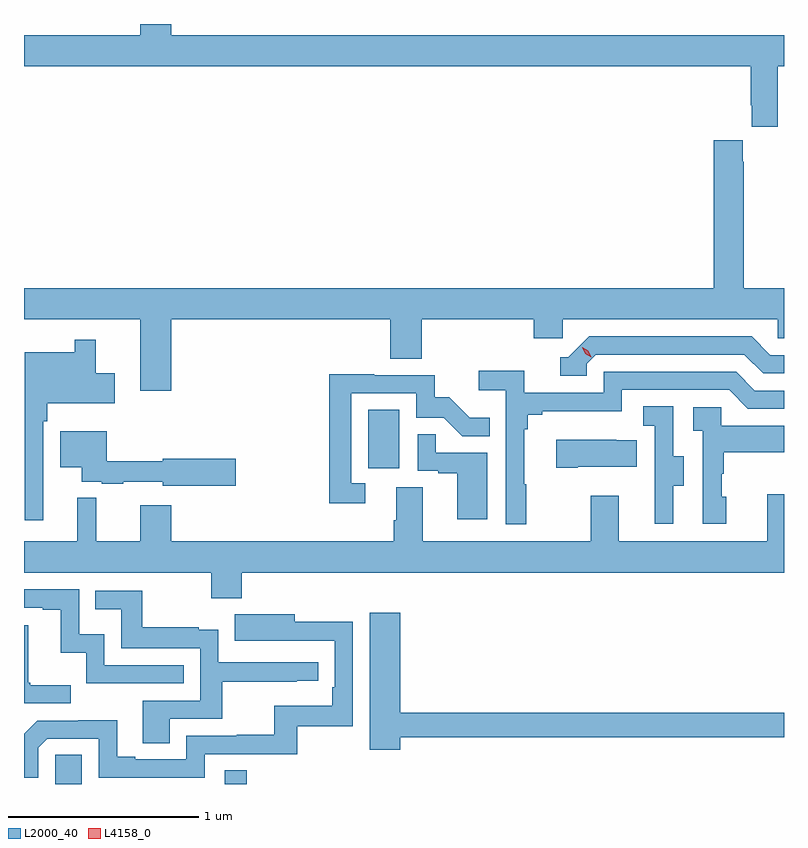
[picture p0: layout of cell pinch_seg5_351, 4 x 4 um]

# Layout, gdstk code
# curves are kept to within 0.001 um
import gdstk
lib = gdstk.Library(unit=1e-6, precision=1e-09)
def R(c, l, rs):  # rectangles x0, y0, x1, y1
    for r in rs: c.add(gdstk.rectangle(r[:2], r[2:], *l))
def P(c, l, *ps):  # polygons
    for p in ps: c.add(gdstk.Polygon(p, *l))
L2000_40 = (2000, 40)
L4158_0 = (4158, 0)

pinch_seg5_351 = lib.new_cell('pinch_seg5_351')
R(pinch_seg5_351, L2000_40, [(967.758,879.623,967.897,879.776), (968.649,879.623,968.765,879.695), (969.404,881.286,969.568,881.593)])
P(pinch_seg5_351, L2000_40, [(971.56,883.4),(971.593,883.4),(971.593,883.564),(968.368,883.564),(968.368,883.623),(968.204,883.623),(968.204,883.564),(967.593,883.564),(967.593,883.4),(971.417,883.4),(971.417,883.195),(971.423,883.195),(971.423,883.083),(971.56,883.083)],
  [(968.368,882.068),(969.521,882.068),(969.521,881.86),(969.686,881.86),(969.686,882.068),(970.277,882.068),(970.277,881.97),(970.428,881.97),(970.428,882.068),(971.559,882.068),(971.559,881.97),(971.593,881.97),(971.593,882.232),(971.382,882.232),(971.382,882.899),(971.377,882.899),(971.377,883.012),(971.222,883.012),(971.222,882.232),(967.593,882.232),(967.593,882.068),(968.204,882.068),(968.204,881.694),(968.368,881.694)],
  [(970.554,881.835),(970.602,881.883),(971.385,881.883),(971.484,881.784),(971.593,881.784),(971.593,881.88),(971.521,881.88),(971.422,881.979),(970.569,881.979),(970.458,881.868),(970.415,881.868),(970.415,881.772),(970.554,881.772)],
  [(967.695,881.531),(967.715,881.531),(967.715,881.627),(968.071,881.627),(968.071,881.785),(967.971,881.785),(967.971,881.962),(967.86,881.962),(967.86,881.896),(967.598,881.896),(967.598,881.01),(967.695,881.01)],
  [(970.237,881.201),(970.225,881.201),(970.225,881.489),(970.244,881.489),(970.244,881.566),(970.321,881.566),(970.321,881.585),(970.74,881.585),(970.74,881.697),(971.304,881.697),(971.403,881.598),(971.593,881.598),(971.593,881.694),(971.44,881.694),(971.341,881.793),(970.644,881.793),(970.644,881.682),(970.226,881.682),(970.226,881.798),(969.987,881.798),(969.987,881.696),(970.128,881.696),(970.128,880.989),(970.237,880.989)],
  [(969.388,881.205),(969.315,881.205),(969.315,881.679),(969.657,881.679),(969.657,881.55),(969.801,881.55),(969.899,881.452),(970.043,881.452),(970.043,881.551),(969.939,881.551),(969.832,881.658),(969.756,881.658),(969.756,881.775),(969.437,881.775),(969.437,881.78),(969.199,881.78),(969.199,881.1),(969.388,881.1)],
  [(971.011,881.194),(971.065,881.194),(971.065,881.349),(971.01,881.349),(971.01,881.612),(970.851,881.612),(970.851,881.509),(970.914,881.509),(970.914,881.205),(970.913,881.205),(970.913,880.992),(971.011,880.992)],
  [(971.29,881.136),(971.265,881.136),(971.265,881.255),(971.275,881.255),(971.275,881.369),(971.593,881.369),(971.593,881.509),(971.262,881.509),(971.262,881.607),(971.115,881.607),(971.115,881.483),(971.166,881.483),(971.166,880.992),(971.29,880.992)],
  [(968.707,881.336),(968.322,881.336),(968.322,881.323),(968.028,881.323),(968.028,881.479),(967.784,881.479),(967.784,881.291),(967.898,881.291),(967.898,881.214),(968.002,881.214),(968.002,881.204),(968.116,881.204),(968.116,881.214),(968.322,881.214),(968.322,881.194),(968.707,881.194)],
  [(970.03,881.367),(969.761,881.367),(969.761,881.465),(969.666,881.465),(969.666,881.271),(969.773,881.271),(969.773,881.259),(969.872,881.259),(969.872,881.016),(970.03,881.016)],
  [(970.507,881.294),(970.817,881.294),(970.817,881.431),(970.709,881.431),(970.709,881.434),(970.395,881.434),(970.395,881.287),(970.507,881.287)],
  [(968.204,881.089),(968.204,880.9),(967.972,880.9),(967.972,881.129),(967.874,881.129),(967.874,880.9),(967.593,880.9),(967.593,880.736),(968.578,880.736),(968.578,880.601),(968.738,880.601),(968.738,880.736),(971.593,880.736),(971.593,881.149),(971.504,881.149),(971.504,880.9),(970.723,880.9),(970.723,881.14),(970.576,881.14),(970.576,880.9),(969.691,880.9),(969.691,881.186),(969.551,881.186),(969.551,881.012),(969.539,881.012),(969.539,880.9),(968.368,880.9),(968.368,881.089)],
  [(968.435,880.248),(968.016,880.248),(968.016,880.411),(967.884,880.411),(967.884,880.647),(967.593,880.647),(967.593,880.551),(967.691,880.551),(967.691,880.539),(967.787,880.539),(967.787,880.313),(967.92,880.313),(967.92,880.152),(968.435,880.152)],
  [(968.359,879.966),(968.636,879.966),(968.636,880.162),(969.029,880.162),(969.029,880.167),(969.142,880.167),(969.142,880.263),(968.616,880.263),(968.616,880.435),(968.513,880.435),(968.513,880.447),(968.215,880.447),(968.215,880.641),(967.969,880.641),(967.969,880.544),(968.104,880.544),(968.104,880.338),(968.52,880.338),(968.52,880.062),(968.219,880.062),(968.219,879.838),(968.359,879.838)],
  [(969.574,879.87),(971.593,879.87),(971.593,879.998),(969.574,879.998),(969.574,880.525),(969.413,880.525),(969.413,879.804),(969.574,879.804)],
  [(967.668,879.813),(967.716,879.861),(967.986,879.861),(967.986,879.657),(968.544,879.657),(968.544,879.78),(969.031,879.78),(969.031,879.927),(969.324,879.927),(969.324,880.478),(969.019,880.478),(969.019,880.516),(968.701,880.516),(968.701,880.376),(969.228,880.377),(969.228,880.132),(969.215,880.132),(969.215,880.036),(968.91,880.036),(968.91,879.881),(968.713,879.881),(968.713,879.876),(968.448,879.876),(968.448,879.753),(968.179,879.753),(968.179,879.766),(968.083,879.766),(968.083,879.959),(967.878,879.959),(967.878,879.957),(967.662,879.957),(967.593,879.888),(967.593,879.657),(967.668,879.657)],
  [(967.84,880.144),(967.627,880.144),(967.627,880.156),(967.615,880.156),(967.615,880.459),(967.593,880.459),(967.593,880.047),(967.84,880.047)])
P(pinch_seg5_351, L4158_0, [(970.578,881.869),(970.547,881.888),(970.53,881.921),(970.53,881.921),(970.531,881.921),(970.562,881.902),(970.578,881.869),(970.578,881.869)])

lib.write_gds('pinch_seg5_351.gds')
